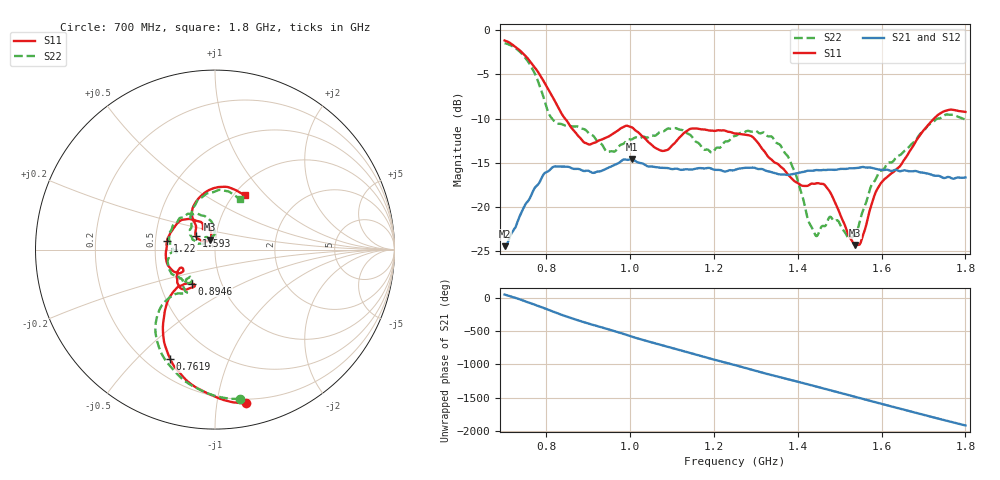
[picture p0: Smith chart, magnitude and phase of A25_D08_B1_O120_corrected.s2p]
! Created with skrf 1.9.0 (http://scikit-rf.org).
# Hz S RI R 50.0
!freq ReS11 ImS11 ReS21 ImS21 ReS12 ImS12 ReS22 ImS22
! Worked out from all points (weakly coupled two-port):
!   1601 points, 700 MHz to 1.8 GHz, reference 50 ohm
!   highest |S21| = -14.58 dB at 1.003 GHz (marker M1); lowest = -24.4 dB at 700 MHz (marker M2)
!   lowest |S11| = -24.3 dB at 1.537 GHz (marker M3), VSWR 1.13, Z = 47.1 + j5.17 ohm
!   |S11| at or under -10 dB: 844.2 MHz to 1.725 GHz (880.9 MHz wide, 68.6 % of centre)
!   |S22| runs from -23.6 to -1.5 dB; largest |S21 - S12| = 0.0036
!   S11 on the Smith chart (normalised r, x): 700 MHz: 0.17, -1.21; 761.9 MHz: 0.29, -0.63; 894.6 MHz: 0.72, -0.29; 1.22 GHz: 0.58, +0.06; 1.593 GHz: 0.80, +0.12; 1.8 GHz: 1.12, +0.77
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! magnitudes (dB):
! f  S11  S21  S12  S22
! 700 MHz  -1.2  -24.4  -24.2  -1.5
! 761.9 MHz  -3.6  -18.8  -18.8  -4.0
! 814.1 MHz  -7.5  -15.5  -15.6  -10.1
! 883.6 MHz  -12.4  -15.8  -15.7  -11.1
! 894.6 MHz  -12.8  -15.9  -16.0  -11.3
! 946.8 MHz  -12.1  -15.6  -15.6  -13.8
! 1.003 GHz  -11.0  -14.6  -14.7  -12.4
! 1.067 GHz  -13.5  -15.5  -15.5  -11.6
! 1.144 GHz  -11.1  -15.8  -15.8  -11.9
! 1.193 GHz  -11.4  -15.6  -15.6  -13.8
! 1.22 GHz  -11.3  -15.9  -15.9  -12.9
! 1.25 GHz  -11.7  -15.8  -15.7  -12.0
! 1.358 GHz  -15.4  -16.3  -16.3  -13.0
! 1.393 GHz  -17.1  -16.2  -16.2  -16.0
! 1.434 GHz  -17.3  -15.9  -15.9  -22.3
! 1.472 GHz  -18.0  -15.8  -15.8  -21.4
! 1.537 GHz  -24.3  -15.6  -15.6  -23.1
! 1.552 GHz  -23.8  -15.5  -15.5  -20.9
! 1.593 GHz  -17.7  -15.8  -15.7  -16.1
! 1.617 GHz  -16.4  -15.8  -15.8  -15.0
! 1.733 GHz  -9.7  -16.5  -16.5  -10.0
! 1.8 GHz  -9.2  -16.7  -16.7  -10.1
